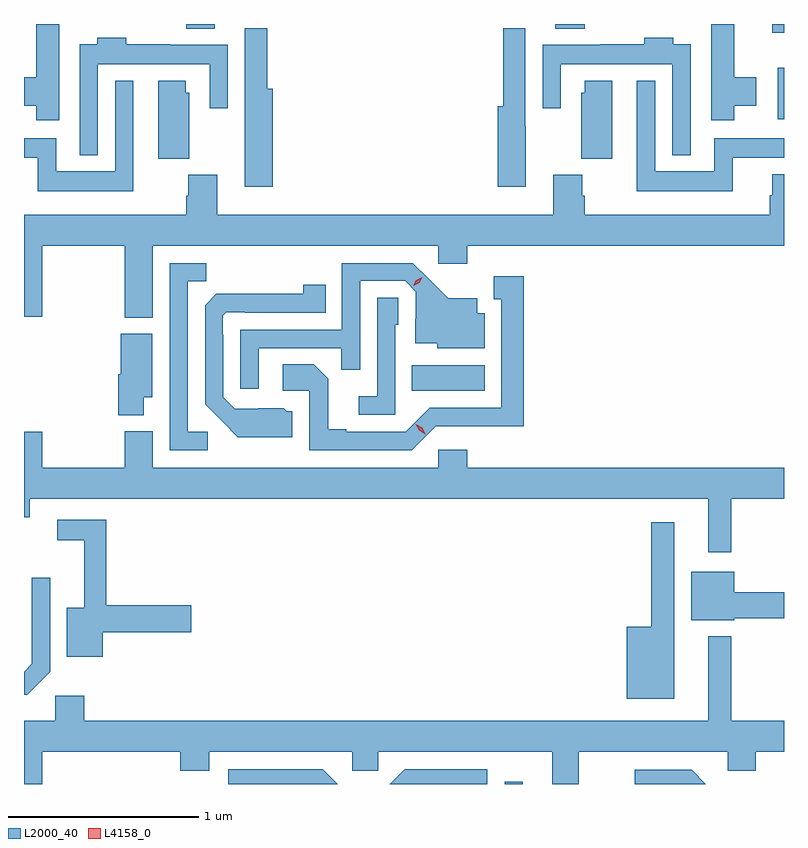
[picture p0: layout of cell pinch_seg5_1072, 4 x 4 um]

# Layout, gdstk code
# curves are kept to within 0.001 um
import gdstk
lib = gdstk.Library(unit=1e-6, precision=1e-09)
def R(c, l, rs):  # rectangles x0, y0, x1, y1
    for r in rs: c.add(gdstk.rectangle(r[:2], r[2:], *l))
def P(c, l, *ps):  # polygons
    for p in ps: c.add(gdstk.Polygon(p, *l))
L2000_40 = (2000, 40)
L4158_0 = (4158, 0)

pinch_seg5_1072 = lib.new_cell('pinch_seg5_1072')
R(pinch_seg5_1072, L2000_40, [(802.969,852.595,803.065,852.607), (802.48,854.666,802.864,854.8), (804.407,856.094,804.44,856.366), (804.377,856.548,804.44,856.595), (801.293,856.571,801.445,856.595), (803.237,856.571,803.39,856.595)])
P(pinch_seg5_1072, L2000_40, [(800.626,856.595),(800.504,856.595),(800.504,856.314),(800.44,856.314),(800.44,856.166),(800.504,856.166),(800.504,856.089),(800.626,856.089)],
  [(804.178,856.166),(804.295,856.166),(804.295,856.314),(804.178,856.314),(804.178,856.595),(804.056,856.595),(804.056,856.089),(804.178,856.089)],
  [(803.08,856.058),(803.079,856.058),(803.079,856.573),(802.963,856.573),(802.963,856.162),(802.934,856.162),(802.934,855.738),(803.08,855.738)],
  [(801.749,856.255),(801.719,856.255),(801.719,856.573),(801.603,856.573),(801.603,856.151),(801.602,856.151),(801.602,855.738),(801.749,855.738)],
  [(800.829,856.382),(801.417,856.382),(801.417,856.152),(801.513,856.152),(801.513,856.486),(801.209,856.486),(801.209,856.489),(800.978,856.489),(800.978,856.522),(800.825,856.522),(800.825,856.489),(800.733,856.489),(800.733,855.905),(800.829,855.905)],
  [(803.949,856.489),(803.857,856.489),(803.857,856.522),(803.705,856.522),(803.705,856.489),(803.473,856.489),(803.473,856.486),(803.169,856.486),(803.169,856.152),(803.265,856.152),(803.265,856.382),(803.853,856.382),(803.853,855.905),(803.949,855.905)],
  [(803.536,856.297),(803.39,856.297),(803.39,856.233),(803.372,856.233),(803.372,855.886),(803.536,855.886)],
  [(801.31,856.233),(801.292,856.233),(801.292,856.297),(801.146,856.297),(801.146,855.886),(801.31,855.886)],
  [(801.016,856.297),(800.919,856.297),(800.919,855.82),(800.61,855.82),(800.61,855.994),(800.44,855.994),(800.44,855.89),(800.513,855.89),(800.513,855.716),(801.016,855.716)],
  [(804.17,855.89),(804.44,855.89),(804.44,855.994),(804.072,855.994),(804.072,855.82),(803.763,855.82),(803.763,856.297),(803.666,856.297),(803.666,855.716),(804.17,855.716)],
  [(801.118,855.428),(802.62,855.428),(802.62,855.333),(802.772,855.333),(802.772,855.428),(804.44,855.428),(804.44,855.805),(804.377,855.805),(804.377,855.693),(804.365,855.693),(804.365,855.592),(803.39,855.592),(803.39,855.692),(803.377,855.692),(803.377,855.801),(803.225,855.801),(803.225,855.592),(801.458,855.592),(801.458,855.801),(801.305,855.801),(801.305,855.692),(801.293,855.692),(801.293,855.592),(800.44,855.592),(800.44,855.054),(800.536,855.054),(800.536,855.428),(800.971,855.428),(800.971,855.05),(801.118,855.05)],
  [(801.406,854.448),(801.303,854.448),(801.303,855.241),(801.399,855.241),(801.399,855.336),(801.207,855.336),(801.207,854.352),(801.406,854.352)],
  [(801.675,854.889),(802.111,854.889),(802.111,854.776),(802.209,854.776),(802.209,855.243),(802.446,855.243),(802.503,855.186),(802.503,855.044),(802.499,855.044),(802.499,854.915),(802.614,854.915),(802.614,854.888),(802.864,854.888),(802.864,855.073),(802.825,855.073),(802.825,855.151),(802.673,855.151),(802.486,855.336),(802.113,855.336),(802.113,854.985),(801.579,854.985),(801.579,854.676),(801.675,854.676)],
  [(802.608,854.478),(803.071,854.477),(803.071,855.268),(802.913,855.268),(802.913,855.147),(802.952,855.147),(802.952,854.574),(802.575,854.574),(802.449,854.448),(802.135,854.448),(802.135,854.461),(802.041,854.461),(802.041,854.728),(801.965,854.804),(801.801,854.804),(801.801,854.664),(801.942,854.664),(801.942,854.352),(802.482,854.352)],
  [(801.853,854.556),(801.822,854.556),(801.806,854.572),(801.549,854.571),(801.489,854.631),(801.489,854.96),(801.486,854.96),(801.486,855.06),(801.504,855.078),(801.604,855.078),(801.604,855.075),(802.028,855.075),(802.028,855.223),(801.91,855.223),(801.91,855.176),(801.452,855.175),(801.393,855.116),(801.393,854.594),(801.565,854.42),(801.853,854.42)],
  [(802.395,855.012),(802.41,855.012),(802.41,855.155),(802.299,855.155),(802.299,854.635),(802.203,854.635),(802.203,854.538),(802.395,854.538)],
  [(801.07,854.63),(801.115,854.63),(801.115,854.965),(800.948,854.965),(800.948,854.751),(800.936,854.751),(800.936,854.537),(801.07,854.537)],
  [(804.163,854.096),(804.44,854.096),(804.44,854.26),(802.772,854.26),(802.772,854.353),(802.62,854.353),(802.62,854.26),(801.118,854.26),(801.118,854.452),(800.971,854.452),(800.971,854.26),(800.536,854.26),(800.536,854.449),(800.44,854.449),(800.44,853.998),(800.47,853.998),(800.47,854.096),(804.041,854.096),(804.041,853.815),(804.163,853.815)],
  [(800.854,853.393),(801.319,853.393),(801.319,853.535),(800.873,853.535),(800.873,853.986),(800.616,853.986),(800.616,853.878),(800.756,853.878),(800.756,853.522),(800.666,853.522),(800.666,853.265),(800.854,853.265)],
  [(803.863,853.972),(803.742,853.972),(803.742,853.423),(803.612,853.423),(803.612,853.043),(803.863,853.043)],
  [(804.178,853.468),(804.44,853.468),(804.44,853.604),(804.178,853.604),(804.178,853.711),(803.951,853.711),(803.951,853.457),(804.178,853.457)],
  [(800.577,853.185),(800.577,853.681),(800.481,853.681),(800.481,853.227),(800.44,853.186),(800.44,853.064),(800.456,853.064)],
  [(800.756,853.06),(800.604,853.06),(800.604,852.928),(800.44,852.928),(800.44,852.595),(800.536,852.595),(800.536,852.764),(801.263,852.764),(801.263,852.665),(801.415,852.665),(801.415,852.764),(802.167,852.764),(802.167,852.666),(802.305,852.666),(802.305,852.764),(803.219,852.764),(803.219,852.595),(803.359,852.595),(803.359,852.764),(804.143,852.764),(804.143,852.665),(804.291,852.665),(804.291,852.764),(804.44,852.764),(804.44,852.928),(804.163,852.928),(804.163,853.372),(804.041,853.372),(804.041,852.928),(800.756,852.928)],
  [(802.013,852.673),(801.516,852.673),(801.516,852.595),(802.091,852.595)],
  [(802.878,852.672),(802.443,852.672),(802.366,852.595),(802.878,852.595)],
  [(803.955,852.669),(803.655,852.669),(803.655,852.595),(804.029,852.595)])
P(pinch_seg5_1072, L4158_0, [(802.552,854.437),(802.52,854.456),(802.503,854.488),(802.503,854.489),(802.503,854.489),(802.535,854.47),(802.553,854.437),(802.553,854.437)],
  [(802.488,855.218),(802.488,855.218),(802.505,855.247),(802.535,855.263),(802.536,855.263),(802.536,855.262),(802.519,855.233),(802.488,855.218)])

lib.write_gds('pinch_seg5_1072.gds')
